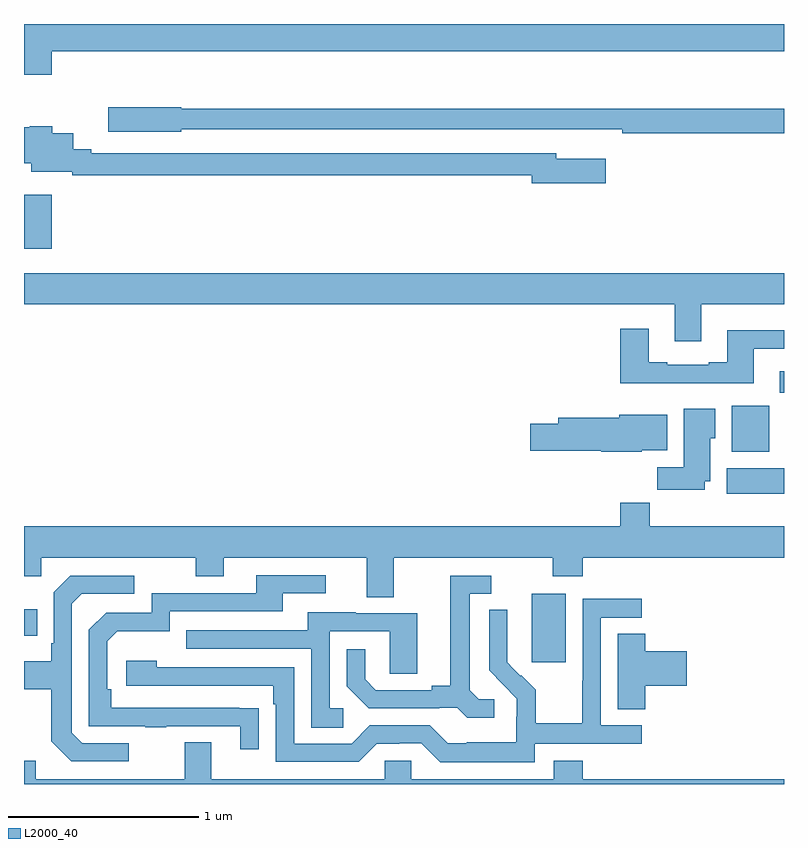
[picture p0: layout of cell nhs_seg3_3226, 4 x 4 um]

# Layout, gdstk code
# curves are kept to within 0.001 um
import gdstk
lib = gdstk.Library(unit=1e-6, precision=1e-09)
def R(c, l, rs):  # rectangles x0, y0, x1, y1
    for r in rs: c.add(gdstk.rectangle(r[:2], r[2:], *l))
def P(c, l, *ps):  # polygons
    for p in ps: c.add(gdstk.Polygon(p, *l))
L2000_40 = (2000, 40)

nhs_seg3_3226 = lib.new_cell('nhs_seg3_3226')
R(nhs_seg3_3226, L2000_40, [(281.672,691.041,281.851,691.402), (279,691.181,279.071,691.321), (282.698,691.928,283,692.062), (282.725,692.15,282.922,692.392), (282.977,692.459,283,692.572), (279,693.216,279.146,693.502)])
P(nhs_seg3_3226, L2000_40, [(279.146,694.256),(283,694.256),(283,694.4),(279,694.4),(279,694.132),(279.146,694.132)],
  [(283,693.955),(279.828,693.955),(279.828,693.963),(279.444,693.963),(279.444,693.833),(279.828,693.833),(279.828,693.846),(281.896,693.846),(281.896,693.845),(282.148,693.845),(282.148,693.826),(283,693.826)],
  [(282.061,693.691),(281.8,693.691),(281.8,693.72),(279.355,693.72),(279.355,693.74),(279.259,693.74),(279.259,693.826),(279.148,693.826),(279.148,693.862),(279.03,693.862),(279.03,693.856),(279,693.856),(279,693.668),(279.038,693.668),(279.038,693.623),(279.255,693.623),(279.255,693.604),(281.672,693.604),(281.672,693.562),(282.061,693.562)],
  [(282.565,692.924),(283,692.924),(283,693.088),(279,693.088),(279,692.924),(282.425,692.924),(282.425,692.73),(282.565,692.73)],
  [(282.841,692.691),(283,692.691),(283,692.788),(282.701,692.788),(282.701,692.62),(282.605,692.62),(282.605,692.607),(282.385,692.607),(282.385,692.62),(282.289,692.62),(282.289,692.797),(282.137,692.797),(282.137,692.51),(282.841,692.51)],
  [(282.583,691.994),(282.613,691.994),(282.613,692.22),(282.637,692.22),(282.637,692.374),(282.473,692.374),(282.473,692.068),(282.334,692.068),(282.334,691.95),(282.583,691.95)],
  [(282.252,692.156),(282.385,692.156),(282.385,692.344),(282.134,692.344),(282.134,692.327),(281.813,692.327),(281.813,692.297),(281.664,692.297),(281.664,692.155),(282.038,692.155),(282.038,692.15),(282.252,692.15)],
  [(280.945,691.592),(281.782,691.592),(281.782,691.493),(281.942,691.493),(281.942,691.592),(283,691.592),(283,691.756),(282.293,691.756),(282.293,691.88),(282.137,691.88),(282.137,691.756),(279,691.756),(279,691.493),(279.09,691.493),(279.09,691.592),(279.904,691.592),(279.904,691.493),(280.051,691.493),(280.051,691.592),(280.805,691.592),(280.805,691.384),(280.945,691.384)],
  [(280.235,690.8),(279.458,690.801),(279.458,690.898),(279.438,690.898),(279.438,691.152),(279.491,691.205),(279.768,691.205),(279.768,691.308),(280.363,691.308),(280.363,691.404),(280.588,691.404),(280.588,691.5),(280.223,691.5),(280.223,691.404),(279.672,691.404),(279.672,691.302),(279.432,691.302),(279.342,691.212),(279.342,690.705),(279.637,690.705),(279.637,690.7),(279.749,690.7),(279.749,690.705),(280.139,690.705),(280.139,690.582),(280.235,690.582)],
  [(279.55,690.615),(279.306,690.615),(279.252,690.669),(279.252,691.35),(279.303,691.401),(279.58,691.401),(279.58,691.497),(279.243,691.497),(279.156,691.41),(279.156,691.141),(279.144,691.141),(279.144,691.045),(279,691.045),(279,690.898),(279.144,690.898),(279.144,690.625),(279.249,690.519),(279.55,690.519)],
  [(281.476,690.846),(281.394,690.846),(281.347,690.893),(281.347,691.401),(281.458,691.401),(281.458,691.497),(281.243,691.497),(281.243,690.917),(281.147,690.917),(281.147,690.894),(280.852,690.894),(280.795,690.951),(280.795,691.108),(280.698,691.108),(280.698,690.914),(280.814,690.798),(281.186,690.798),(281.186,690.801),(281.28,690.801),(281.332,690.749),(281.476,690.749)],
  [(281.688,690.612),(282.25,690.612),(282.25,690.708),(282.036,690.708),(282.036,691.275),(282.25,691.275),(282.25,691.374),(281.94,691.374),(281.94,690.944),(281.938,690.944),(281.938,690.721),(281.693,690.721),(281.693,690.895),(281.616,690.972),(281.613,690.969),(281.543,691.04),(281.544,691.316),(281.448,691.316),(281.448,690.998),(281.594,690.85),(281.594,690.753),(281.592,690.753),(281.592,690.619),(281.329,690.619),(281.329,690.615),(281.229,690.615),(281.136,690.708),(280.821,690.708),(280.725,690.612),(280.422,690.612),(280.422,691.014),(279.698,691.014),(279.698,691.048),(279.537,691.048),(279.537,690.918),(280.313,690.918),(280.313,690.821),(280.326,690.821),(280.326,690.516),(280.761,690.516),(280.857,690.612),(280.976,690.612),(280.976,690.615),(281.091,690.615),(281.191,690.515),(281.688,690.515)],
  [(280.681,690.798),(280.608,690.798),(280.608,691.203),(280.926,691.203),(280.926,690.979),(281.071,690.979),(281.071,691.299),(280.747,691.299),(280.747,691.303),(280.493,691.303),(280.493,691.209),(279.853,691.209),(279.853,691.113),(280.512,691.113),(280.512,690.697),(280.681,690.697)],
  [(282.269,690.917),(282.487,690.917),(282.487,691.1),(282.269,691.1),(282.269,691.19),(282.125,691.19),(282.125,690.793),(282.269,690.793)],
  [(283,690.424),(281.942,690.424),(281.942,690.523),(281.789,690.523),(281.789,690.424),(281.037,690.424),(281.037,690.522),(280.899,690.522),(280.899,690.424),(279.985,690.424),(279.985,690.619),(279.845,690.619),(279.845,690.424),(279.061,690.424),(279.061,690.523),(279,690.523),(279,690.4),(283,690.4)])

lib.write_gds('nhs_seg3_3226.gds')
